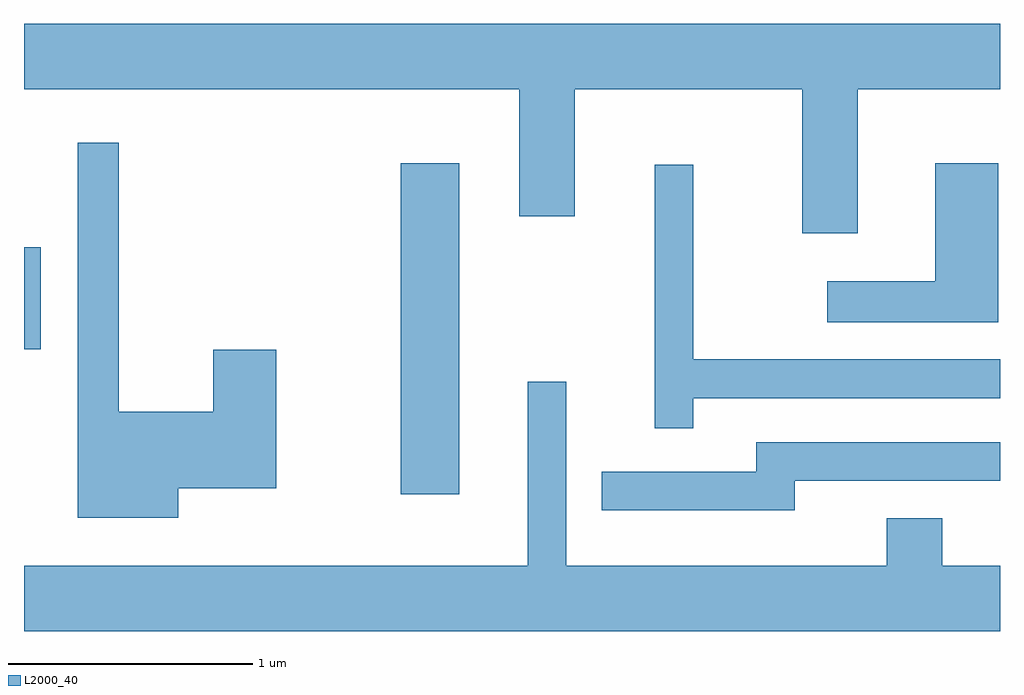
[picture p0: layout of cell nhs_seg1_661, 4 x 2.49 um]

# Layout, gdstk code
import gdstk
lib = gdstk.Library(unit=1e-6, precision=1e-09)
def R(c, l, rs):  # rectangles x0, y0, x1, y1
    for r in rs: c.add(gdstk.rectangle(r[:2], r[2:], *l))
def P(c, l, *ps):  # polygons
    for p in ps: c.add(gdstk.Polygon(p, *l))
L2000_40 = (2000, 40)

nhs_seg1_661 = lib.new_cell('nhs_seg1_661')
R(nhs_seg1_661, L2000_40, [(207.156,862.396,207.394,863.754), (205.611,862.991,205.679,863.409)])
P(nhs_seg1_661, L2000_40, [(209.029,864.056),(209.611,864.056),(209.611,864.324),(205.611,864.324),(205.611,864.056),(207.641,864.056),(207.641,863.536),(207.869,863.536),(207.869,864.056),(208.801,864.056),(208.801,863.466),(209.029,863.466)],
  [(206.244,862.421),(206.644,862.421),(206.644,862.989),(206.386,862.989),(206.386,862.734),(205.999,862.734),(205.999,863.838),(205.831,863.838),(205.831,862.301),(206.244,862.301)],
  [(209.604,863.754),(209.346,863.754),(209.346,863.269),(208.903,863.269),(208.903,863.101),(209.604,863.101)],
  [(208.354,862.791),(209.611,862.791),(209.611,862.949),(208.354,862.949),(208.354,863.748),(208.196,863.748),(208.196,862.668),(208.354,862.668)],
  [(209.611,862.104),(209.374,862.104),(209.374,862.299),(209.146,862.299),(209.146,862.104),(207.834,862.104),(207.834,862.858),(207.676,862.858),(207.676,862.104),(205.611,862.104),(205.611,861.836),(209.611,861.836)],
  [(208.769,862.451),(209.611,862.451),(209.611,862.609),(208.611,862.609),(208.611,862.489),(207.978,862.489),(207.978,862.331),(208.769,862.331)])

lib.write_gds('nhs_seg1_661.gds')
